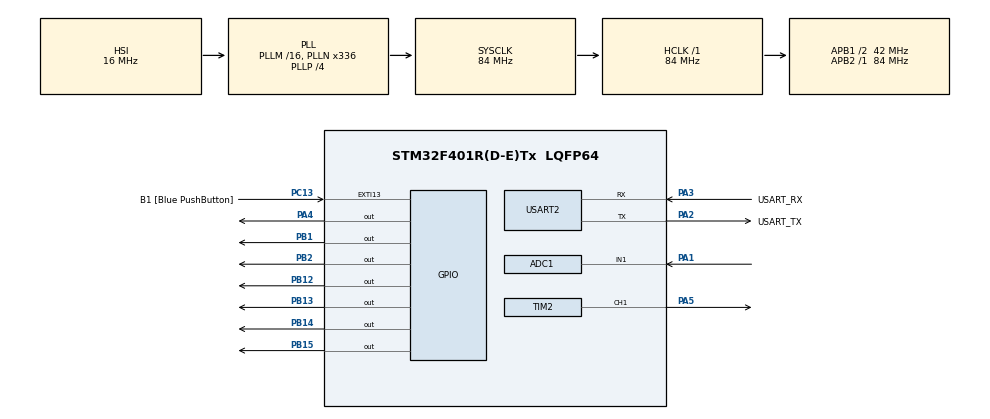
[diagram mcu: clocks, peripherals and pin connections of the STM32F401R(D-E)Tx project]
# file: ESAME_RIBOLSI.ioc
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ADC1.Channel-0\#ChannelRegularConversion=ADC_CHANNEL_1
ADC1.ExternalTrigConv=ADC_EXTERNALTRIGCONV_T3_TRGO
ADC1.NbrOfConversionFlag=1
ADC1.Rank-0\#ChannelRegularConversion=1
ADC1.SamplingTime-0\#ChannelRegularConversion=ADC_SAMPLETIME_480CYCLES
ADC1.master=1
Mcu.Family=STM32F4
Mcu.Name=STM32F401R(D-E)Tx
Mcu.Package=LQFP64
NVIC.ADC_IRQn=true\:0\:0\:false\:false\:true\:true\:true\:true
NVIC.PriorityGroup=NVIC_PRIORITYGROUP_4
PA1.Signal=ADCx_IN1
PA13.GPIO_Label=TMS
PA13.Mode=Trace_Asynchronous_SW
PA13.Signal=SYS_JTMS-SWDIO
PA14.GPIO_Label=TCK
PA14.Mode=Trace_Asynchronous_SW
PA14.Signal=SYS_JTCK-SWCLK
PA2.GPIO_Label=USART_TX
PA2.GPIO_Mode=GPIO_MODE_AF_PP
PA2.GPIO_PuPd=GPIO_NOPULL
PA2.GPIO_Speed=GPIO_SPEED_FREQ_LOW
PA2.Mode=Asynchronous
PA2.Signal=USART2_TX
PA3.GPIO_Label=USART_RX
PA3.GPIO_Mode=GPIO_MODE_AF_PP
PA3.GPIO_PuPd=GPIO_NOPULL
PA3.GPIO_Speed=GPIO_SPEED_FREQ_LOW
PA3.Mode=Asynchronous
PA3.Signal=USART2_RX
PA4.Signal=GPIO_Output
PA5.Signal=S_TIM2_CH1_ETR
PB1.Signal=GPIO_Output
PB12.Signal=GPIO_Output
PB13.Signal=GPIO_Output
PB14.Signal=GPIO_Output
PB15.Signal=GPIO_Output
PB2.Signal=GPIO_Output
PB3.GPIO_Label=SWO
PB3.Mode=Trace_Asynchronous_SW
PB3.Signal=SYS_JTDO-SWO
PC13-ANTI_TAMP.GPIO_Label=B1 [Blue PushButton]
PC13-ANTI_TAMP.GPIO_ModeDefaultEXTI=GPIO_MODE_IT_FALLING
PC13-ANTI_TAMP.GPIO_PuPd=GPIO_NOPULL
PC13-ANTI_TAMP.Signal=GPXTI13
PC14-OSC32_IN.Mode=LSE-External-Oscillator
PC14-OSC32_IN.Signal=RCC_OSC32_IN
PC15-OSC32_OUT.Mode=LSE-External-Oscillator
PC15-OSC32_OUT.Signal=RCC_OSC32_OUT
PH0\ -\ OSC_IN.Mode=HSE-External-Clock-Source
PH0\ -\ OSC_IN.Signal=RCC_OSC_IN
PH1\ -\ OSC_OUT.Mode=HSE-External-Clock-Source
PH1\ -\ OSC_OUT.Signal=RCC_OSC_OUT
ProjectManager.HeapSize=0x200
ProjectManager.StackSize=0x400
ProjectManager.TargetToolchain=STM32CubeIDE
RCC.48MHZClocksFreq_Value=48000000
RCC.AHBFreq_Value=84000000
RCC.APB1CLKDivider=RCC_HCLK_DIV2
RCC.APB1Freq_Value=42000000
RCC.APB1TimFreq_Value=84000000
RCC.APB2Freq_Value=84000000
RCC.APB2TimFreq_Value=84000000
RCC.CortexFreq_Value=84000000
RCC.HCLKFreq_Value=84000000
RCC.HSE_VALUE=8000000
RCC.HSI_VALUE=16000000
RCC.PLLN=336
RCC.PLLP=RCC_PLLP_DIV4
RCC.PLLQ=7
RCC.SYSCLKFreq_VALUE=84000000
RCC.SYSCLKSource=RCC_SYSCLKSOURCE_PLLCLK
RCC.VCOOutputFreq_Value=336000000
SH.ADCx_IN1.0=ADC1_IN1,IN1
SH.S_TIM2_CH1_ETR.0=TIM2_CH1,PWM Generation1 CH1
TIM2.AutoReloadPreload=TIM_AUTORELOAD_PRELOAD_ENABLE
TIM2.Channel-PWM\ Generation1\ CH1=TIM_CHANNEL_1
TIM2.Period=839
TIM2.Prescaler=99
TIM2.Pulse-PWM\ Generation1\ CH1=419
TIM2.TIM_MasterOutputTrigger=TIM_TRGO_RESET
TIM3.Period=1679
TIM3.Prescaler=9999
TIM3.TIM_MasterOutputTrigger=TIM_TRGO_UPDATE
USART2.VirtualMode=VM_ASYNC
VP_TIM2_VS_ClockSourceINT.Mode=Internal
VP_TIM3_VS_ClockSourceINT.Mode=Internal
board=NUCLEO-F401RE

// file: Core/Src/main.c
/* USER CODE BEGIN Header */
/**
  ******************************************************************************
  * @file           : main.c
  * @brief          : Main program body
  ******************************************************************************
  * @attention
  *
  * Copyright (c) 2026 STMicroelectronics.
  * All rights reserved.
  *
  * This software is licensed under terms that can be found in the LICENSE file
  * in the root directory of this software component.
  * If no LICENSE file comes with this software, it is provided AS-IS.
  *
  ******************************************************************************
  */
/* USER CODE END Header */
#include "main.h"

/* USER CODE BEGIN Includes */
#include "PMDB16_LCD.h"
#include "stdio.h"
#include "string.h"

/* USER CODE END Includes */

/* USER CODE BEGIN PD */
#define ARR 840
/* USER CODE END PD */

ADC_HandleTypeDef hadc1;

TIM_HandleTypeDef htim2;
TIM_HandleTypeDef htim3;

UART_HandleTypeDef huart2;

/* USER CODE BEGIN PV */
uint32_t adc_value=0;
volatile float v_pot=0.0f;
volatile uint32_t old=0;
char lcd_buffer[16];
int bar_value=0;

volatile uint8_t changed=0;

volatile uint8_t adc_ready_first_time=1;

float DC=0.0f;

/* USER CODE END PV */

void SystemClock_Config(void);
static void MX_GPIO_Init(void);
static void MX_USART2_UART_Init(void);
static void MX_ADC1_Init(void);
static void MX_TIM2_Init(void);
static void MX_TIM3_Init(void);

/* USER CODE BEGIN 0 */
void HAL_ADC_ConvCpltCallback(ADC_HandleTypeDef *hadc)
{
    adc_value = HAL_ADC_GetValue(hadc);
    v_pot = ((float)adc_value * 3.3f) / 4095.0f;

    if(adc_value > old + 4 || adc_value + 4 < old){ // Soglia anti-rumore solo sui 3 LSB (4 = 100)
    	changed=1; // Entro nel while e scrivo LCD
    	old=adc_value; // Aggiorno il valore

    	DC=(float)v_pot/3.3f; // DC = 0.0-1.0

    	int pulse = (int)(ARR*DC); // CCR

    	__HAL_TIM_SET_COMPARE(&htim2, TIM_CHANNEL_1, pulse);
    }

    if(adc_ready_first_time){ // Solo la prima volta
    	changed=1; // Solo per entrare nel while
    	adc_ready_first_time=0; // Dopo la prima volta non entro mai più in questo ramo
    }
}

/* USER CODE END 0 */

int main(void)
{

  /* MCU Configuration--------------------------------------------------------*/

  /* Reset of all peripherals, Initializes the Flash interface and the Systick. */
  HAL_Init();

  /* Configure the system clock */
  SystemClock_Config();

  /* Initialize all configured peripherals */
  MX_GPIO_Init();
  MX_USART2_UART_Init();
  MX_ADC1_Init();
  MX_TIM2_Init();
  MX_TIM3_Init();
  /* USER CODE BEGIN 2 */
  HAL_TIM_Base_Start(&htim3); // Timer 2 (Trigger ADC)
  HAL_ADC_Start_IT(&hadc1);   // ADC (Interrupt Mode)
  lcd_initialize();           // LCD
  lcd_backlight_ON();

  // LED
  HAL_TIM_PWM_Start(&htim2, TIM_CHANNEL_1);

  /* USER CODE END 2 */

  /* Infinite loop */
  while (1)
  {

    /* USER CODE BEGIN 3 */
	  if(changed){
		  changed=0;

		  sprintf(lcd_buffer, "Value: %.2f V", v_pot);

		  bar_value = (int)((v_pot / 3.3f) * 80.0f);   // 0-80

		  lcd_clear();
		  lcd_println(lcd_buffer, 0);   // testo sulla riga superiore
		  lcd_drawBar(bar_value);   // barra sulla riga inferiore

	  }
  }
  /* USER CODE END 3 */
}

void SystemClock_Config(void)
{
  RCC_OscInitTypeDef RCC_OscInitStruct = {0};
  RCC_ClkInitTypeDef RCC_ClkInitStruct = {0};

  /** Configure the main internal regulator output voltage
  */
  __HAL_RCC_PWR_CLK_ENABLE();
  __HAL_PWR_VOLTAGESCALING_CONFIG(PWR_REGULATOR_VOLTAGE_SCALE2);

  /** Initializes the RCC Oscillators according to the specified parameters
  * in the RCC_OscInitTypeDef structure.
  */
  RCC_OscInitStruct.OscillatorType = RCC_OSCILLATORTYPE_HSI;
  RCC_OscInitStruct.HSIState = RCC_HSI_ON;
  RCC_OscInitStruct.HSICalibrationValue = RCC_HSICALIBRATION_DEFAULT;
  RCC_OscInitStruct.PLL.PLLState = RCC_PLL_ON;
  RCC_OscInitStruct.PLL.PLLSource = RCC_PLLSOURCE_HSI;
  RCC_OscInitStruct.PLL.PLLM = 16;
  RCC_OscInitStruct.PLL.PLLN = 336;
  RCC_OscInitStruct.PLL.PLLP = RCC_PLLP_DIV4;
  RCC_OscInitStruct.PLL.PLLQ = 7;
  if (HAL_RCC_OscConfig(&RCC_OscInitStruct) != HAL_OK)
  {
    Error_Handler();
  }

  /** Initializes the CPU, AHB and APB buses clocks
  */
  RCC_ClkInitStruct.ClockType = RCC_CLOCKTYPE_HCLK|RCC_CLOCKTYPE_SYSCLK
                              |RCC_CLOCKTYPE_PCLK1|RCC_CLOCKTYPE_PCLK2;
  RCC_ClkInitStruct.SYSCLKSource = RCC_SYSCLKSOURCE_PLLCLK;
  RCC_ClkInitStruct.AHBCLKDivider = RCC_SYSCLK_DIV1;
  RCC_ClkInitStruct.APB1CLKDivider = RCC_HCLK_DIV2;
  RCC_ClkInitStruct.APB2CLKDivider = RCC_HCLK_DIV1;

  if (HAL_RCC_ClockConfig(&RCC_ClkInitStruct, FLASH_LATENCY_2) != HAL_OK)
  {
    Error_Handler();
  }
}

static void MX_ADC1_Init(void)
{

  ADC_ChannelConfTypeDef sConfig = {0};

  /** Configure the global features of the ADC (Clock, Resolution, Data Alignment and number of conversion)
  */
  hadc1.Instance = ADC1;
  hadc1.Init.ClockPrescaler = ADC_CLOCK_SYNC_PCLK_DIV4;
  hadc1.Init.Resolution = ADC_RESOLUTION_12B;
  hadc1.Init.ScanConvMode = DISABLE;
  hadc1.Init.ContinuousConvMode = DISABLE;
  hadc1.Init.DiscontinuousConvMode = DISABLE;
  hadc1.Init.ExternalTrigConvEdge = ADC_EXTERNALTRIGCONVEDGE_RISING;
  hadc1.Init.ExternalTrigConv = ADC_EXTERNALTRIGCONV_T3_TRGO;
  hadc1.Init.DataAlign = ADC_DATAALIGN_RIGHT;
  hadc1.Init.NbrOfConversion = 1;
  hadc1.Init.DMAContinuousRequests = DISABLE;
  hadc1.Init.EOCSelection = ADC_EOC_SINGLE_CONV;
  if (HAL_ADC_Init(&hadc1) != HAL_OK)
  {
    Error_Handler();
  }

  /** Configure for the selected ADC regular channel its corresponding rank in the sequencer and its sample time.
  */
  sConfig.Channel = ADC_CHANNEL_1;
  sConfig.Rank = 1;
  sConfig.SamplingTime = ADC_SAMPLETIME_480CYCLES;
  if (HAL_ADC_ConfigChannel(&hadc1, &sConfig) != HAL_OK)
  {
    Error_Handler();
  }

}

static void MX_TIM2_Init(void)
{

  TIM_ClockConfigTypeDef sClockSourceConfig = {0};
  TIM_MasterConfigTypeDef sMasterConfig = {0};
  TIM_OC_InitTypeDef sConfigOC = {0};

  htim2.Instance = TIM2;
  htim2.Init.Prescaler = 99;
  htim2.Init.CounterMode = TIM_COUNTERMODE_UP;
  htim2.Init.Period = 839;
  htim2.Init.ClockDivision = TIM_CLOCKDIVISION_DIV1;
  htim2.Init.AutoReloadPreload = TIM_AUTORELOAD_PRELOAD_ENABLE;
  if (HAL_TIM_Base_Init(&htim2) != HAL_OK)
  {
    Error_Handler();
  }
  sClockSourceConfig.ClockSource = TIM_CLOCKSOURCE_INTERNAL;
  if (HAL_TIM_ConfigClockSource(&htim2, &sClockSourceConfig) != HAL_OK)
  {
    Error_Handler();
  }
  if (HAL_TIM_PWM_Init(&htim2) != HAL_OK)
  {
    Error_Handler();
  }
  sMasterConfig.MasterOutputTrigger = TIM_TRGO_RESET;
  sMasterConfig.MasterSlaveMode = TIM_MASTERSLAVEMODE_DISABLE;
  if (HAL_TIMEx_MasterConfigSynchronization(&htim2, &sMasterConfig) != HAL_OK)
  {
    Error_Handler();
  }
  sConfigOC.OCMode = TIM_OCMODE_PWM1;
  sConfigOC.Pulse = 419;
  sConfigOC.OCPolarity = TIM_OCPOLARITY_HIGH;
  sConfigOC.OCFastMode = TIM_OCFAST_DISABLE;
  if (HAL_TIM_PWM_ConfigChannel(&htim2, &sConfigOC, TIM_CHANNEL_1) != HAL_OK)
  {
    Error_Handler();
  }
  HAL_TIM_MspPostInit(&htim2);

}

static void MX_TIM3_Init(void)
{

  TIM_ClockConfigTypeDef sClockSourceConfig = {0};
  TIM_MasterConfigTypeDef sMasterConfig = {0};

  htim3.Instance = TIM3;
  htim3.Init.Prescaler = 9999;
  htim3.Init.CounterMode = TIM_COUNTERMODE_UP;
  htim3.Init.Period = 1679;
  htim3.Init.ClockDivision = TIM_CLOCKDIVISION_DIV1;
  htim3.Init.AutoReloadPreload = TIM_AUTORELOAD_PRELOAD_DISABLE;
  if (HAL_TIM_Base_Init(&htim3) != HAL_OK)
  {
    Error_Handler();
  }
  sClockSourceConfig.ClockSource = TIM_CLOCKSOURCE_INTERNAL;
  if (HAL_TIM_ConfigClockSource(&htim3, &sClockSourceConfig) != HAL_OK)
  {
    Error_Handler();
  }
  sMasterConfig.MasterOutputTrigger = TIM_TRGO_UPDATE;
  sMasterConfig.MasterSlaveMode = TIM_MASTERSLAVEMODE_DISABLE;
  if (HAL_TIMEx_MasterConfigSynchronization(&htim3, &sMasterConfig) != HAL_OK)
  {
    Error_Handler();
  }

}

static void MX_USART2_UART_Init(void)
{

  huart2.Instance = USART2;
  huart2.Init.BaudRate = 115200;
  huart2.Init.WordLength = UART_WORDLENGTH_8B;
  huart2.Init.StopBits = UART_STOPBITS_1;
  huart2.Init.Parity = UART_PARITY_NONE;
  huart2.Init.Mode = UART_MODE_TX_RX;
  huart2.Init.HwFlowCtl = UART_HWCONTROL_NONE;
  huart2.Init.OverSampling = UART_OVERSAMPLING_16;
  if (HAL_UART_Init(&huart2) != HAL_OK)
  {
    Error_Handler();
  }

}

static void MX_GPIO_Init(void)
{
  GPIO_InitTypeDef GPIO_InitStruct = {0};

  /* GPIO Ports Clock Enable */
  __HAL_RCC_GPIOC_CLK_ENABLE();
  __HAL_RCC_GPIOH_CLK_ENABLE();
  __HAL_RCC_GPIOA_CLK_ENABLE();
  __HAL_RCC_GPIOB_CLK_ENABLE();

  /*Configure GPIO pin Output Level */
  HAL_GPIO_WritePin(GPIOA, GPIO_PIN_4, GPIO_PIN_RESET);

  /*Configure GPIO pin Output Level */
  HAL_GPIO_WritePin(GPIOB, GPIO_PIN_1|GPIO_PIN_2|GPIO_PIN_12|GPIO_PIN_13
                          |GPIO_PIN_14|GPIO_PIN_15, GPIO_PIN_RESET);

  /*Configure GPIO pin : B1_Pin */
  GPIO_InitStruct.Pin = B1_Pin;
  GPIO_InitStruct.Mode = GPIO_MODE_IT_FALLING;
  GPIO_InitStruct.Pull = GPIO_NOPULL;
  HAL_GPIO_Init(B1_GPIO_Port, &GPIO_InitStruct);

  /*Configure GPIO pin : PA4 */
  GPIO_InitStruct.Pin = GPIO_PIN_4;
  GPIO_InitStruct.Mode = GPIO_MODE_OUTPUT_PP;
  GPIO_InitStruct.Pull = GPIO_NOPULL;
  GPIO_InitStruct.Speed = GPIO_SPEED_FREQ_LOW;
  HAL_GPIO_Init(GPIOA, &GPIO_InitStruct);

  /*Configure GPIO pins : PB1 PB2 PB12 PB13
                           PB14 PB15 */
  GPIO_InitStruct.Pin = GPIO_PIN_1|GPIO_PIN_2|GPIO_PIN_12|GPIO_PIN_13
                          |GPIO_PIN_14|GPIO_PIN_15;
  GPIO_InitStruct.Mode = GPIO_MODE_OUTPUT_PP;
  GPIO_InitStruct.Pull = GPIO_NOPULL;
  GPIO_InitStruct.Speed = GPIO_SPEED_FREQ_LOW;
  HAL_GPIO_Init(GPIOB, &GPIO_InitStruct);

}

void Error_Handler(void)
{
  __disable_irq();
  while (1)
  {
  }
}
